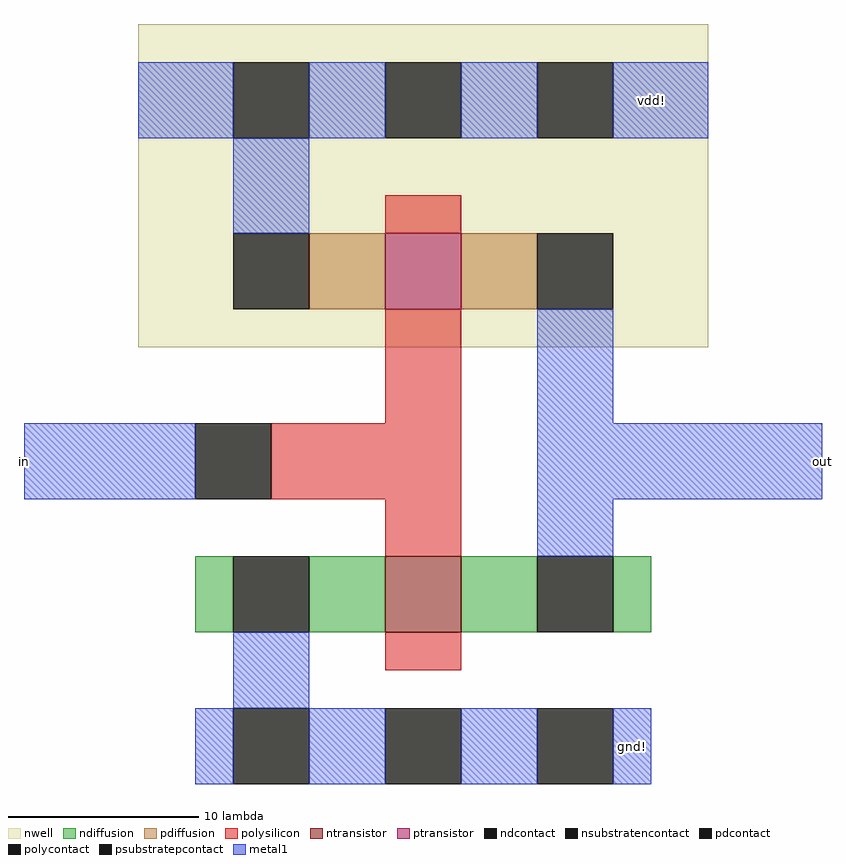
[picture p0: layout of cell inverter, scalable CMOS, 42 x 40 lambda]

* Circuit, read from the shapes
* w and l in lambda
.subckt inverter gnd! in out vdd!
M1 out in gnd! gnd! nfet w=4 l=4
M2 out in vdd! vdd! pfet w=4 l=4
.ends

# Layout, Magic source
magic
tech scmos
<< nwell >>
rect -9 6 21 23
<< polysilicon >>
rect 4 12 8 14
rect 4 2 8 8
rect -2 -2 8 2
rect 4 -5 8 -2
rect 4 -11 8 -9
<< ndiffusion >>
rect -6 -9 -4 -5
rect 0 -9 4 -5
rect 8 -9 12 -5
rect 16 -9 18 -5
<< pdiffusion >>
rect 0 8 4 12
rect 8 8 12 12
<< metal1 >>
rect -9 17 -4 21
rect 0 17 4 21
rect 8 17 12 21
rect 16 17 21 21
rect -4 12 0 17
rect 12 2 16 8
rect -15 -2 -6 2
rect 12 -2 27 2
rect 12 -5 16 -2
rect -4 -13 0 -9
rect -6 -17 -4 -13
rect 0 -17 4 -13
rect 8 -17 12 -13
rect 16 -17 18 -13
<< ntransistor >>
rect 4 -9 8 -5
<< ptransistor >>
rect 4 8 8 12
<< polycontact >>
rect -6 -2 -2 2
<< ndcontact >>
rect -4 -9 0 -5
rect 12 -9 16 -5
<< pdcontact >>
rect -4 8 0 12
rect 12 8 16 12
<< psubstratepcontact >>
rect -4 -17 0 -13
rect 4 -17 8 -13
rect 12 -17 16 -13
<< nsubstratencontact >>
rect -4 17 0 21
rect 4 17 8 21
rect 12 17 16 21
<< labels >>
rlabel metal1 18 19 18 19 5 vdd!
rlabel metal1 17 -15 17 -15 1 gnd!
rlabel metal1 -15 -2 -15 2 3 in
rlabel metal1 27 -2 27 2 7 out
<< end >>
